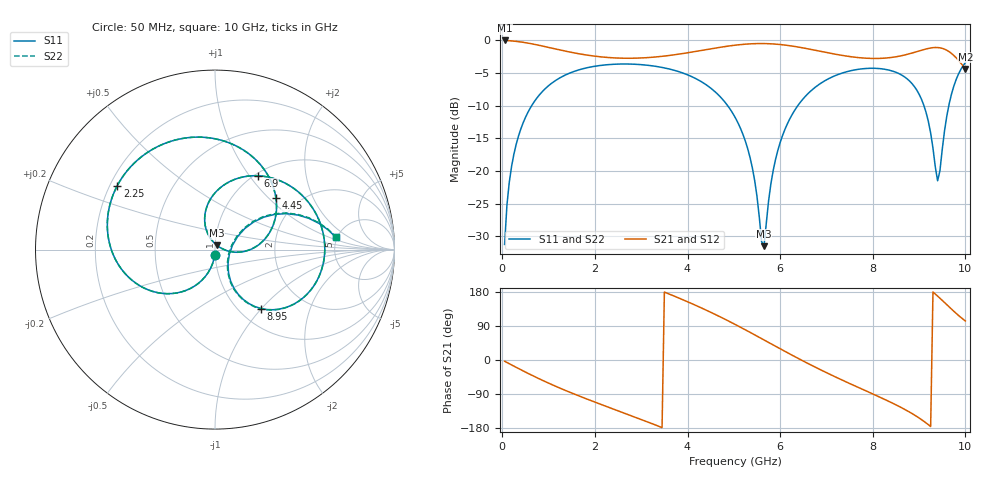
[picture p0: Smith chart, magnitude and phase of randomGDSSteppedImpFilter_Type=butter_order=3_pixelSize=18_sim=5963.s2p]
! freq	dB(S11)	phase(S11)	dB(S12)	phase(S12)
!  dB(S21)	phase(S21)	dB(S22)	phase(S22)
!S-par simulation data
#  GHz  S  DB  R 50
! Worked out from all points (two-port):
!   200 points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, 50 MHz to 10 GHz, reference 50 ohm
!   highest |S21| = -0.01 dB at 50 MHz (marker M1); lowest = -4.4 dB at 10 GHz (marker M2)
!   |S21| within 3 dB of the highest: start of sweep to 9.845 GHz
!   lowest |S11| = -31.5 dB at 5.65 GHz (marker M3), VSWR 1.05, Z = 50.8 + j2.55 ohm
!   |S11| at or under -10 dB: start of sweep to 634.6 MHz; 4.866 GHz to 6.381 GHz (1.515 GHz wide, 26.9 % of centre); 9.105 GHz to 9.642 GHz (537.1 MHz wide, 5.73 % of centre)
!   |S22| runs from -31.3 to -3.4 dB; largest |S21 - S12| = 0
!   S11 on the Smith chart (normalised r, x): 50 MHz: 1.00, -0.05; 2.25 GHz: 0.23, +0.28; 4.45 GHz: 1.55, +1.11; 6.9 GHz: 1.03, +1.10; 8.95 GHz: 1.25, -0.99; 10 GHz: 4.86, +1.24
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0.05  -31.26 -93.3  -0.01 -3.3  -0.01 -3.3  -31.26 -93.3
0.2  -19.33 -103.4  -0.07 -13.0  -0.07 -13.0  -19.33 -103.4
0.5  -11.80 -122.4  -0.35 -31.9  -0.35 -31.9  -11.80 -122.4
1.05  -6.65 -154.4  -1.15 -63.8  -1.15 -63.8  -6.65 -154.4
1.75  -4.32 170.1  -2.16 -99.4  -2.16 -99.4  -4.32 170.1
2.25  -3.73 146.8  -2.60 -122.7  -2.60 -122.7  -3.73 146.9
3.4  -4.07 94.0  -2.48 -175.9  -2.48 -175.9  -4.07 94.1
4.45  -7.03 40.2  -1.35 128.9  -1.35 128.9  -7.03 40.3
5.05  -12.09 6.8  -0.71 92.5  -0.71 92.5  -12.08 7.0
5.4  -19.53 -7.7  -0.51 69.7  -0.51 69.7  -19.52 -7.3
5.65  -31.53 70.7  -0.48 53.1  -0.48 53.1  -31.33 70.4
5.8  -21.98 113.8  -0.52 43.0  -0.52 43.0  -21.95 113.5
6  -15.65 110.3  -0.63 29.7  -0.63 29.7  -15.64 110.2
6.7  -7.51 71.4  -1.43 -15.4  -1.43 -15.4  -7.51 71.4
6.9  -6.46 60.0  -1.71 -27.5  -1.71 -27.5  -6.46 59.9
7.7  -4.41 16.5  -2.64 -73.1  -2.64 -73.1  -4.41 16.4
8.35  -4.55 -17.7  -2.65 -109.3  -2.65 -109.3  -4.55 -17.8
8.95  -7.61 -52.0  -1.72 -149.0  -1.72 -149.0  -7.62 -52.4
9.2  -12.41 -63.9  -1.23 -170.7  -1.23 -170.7  -12.45 -64.7
9.4  -21.50 -19.4  -1.09 168.7  -1.09 168.7  -21.94 -19.6
9.65  -9.71 33.6  -1.73 140.0  -1.73 140.0  -9.73 34.3
10  -3.39 5.9  -4.37 102.9  -4.37 102.9  -3.40 6.2
